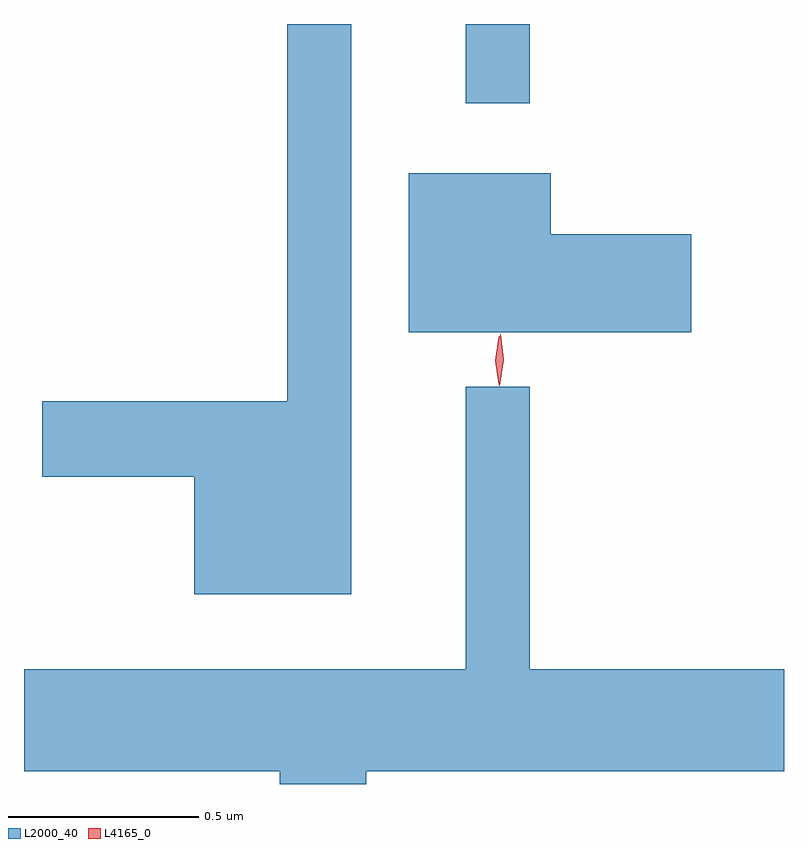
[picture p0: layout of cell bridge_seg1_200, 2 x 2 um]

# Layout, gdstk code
import gdstk
lib = gdstk.Library(unit=1e-6, precision=1e-09)
def R(c, l, rs):  # rectangles x0, y0, x1, y1
    for r in rs: c.add(gdstk.rectangle(r[:2], r[2:], *l))
def P(c, l, *ps):  # polygons
    for p in ps: c.add(gdstk.Polygon(p, *l))
L2000_40 = (2000, 40)
L4165_0 = (4165, 0)

bridge_seg1_200 = lib.new_cell('bridge_seg1_200')
R(bridge_seg1_200, L2000_40, [(647.431,956.833,647.599,957.042)])
P(bridge_seg1_200, L2000_40, [(647.129,957.042),(646.961,957.042),(646.961,956.049),(646.316,956.049),(646.316,955.851),(646.716,955.851),(646.716,955.541),(647.129,955.541)],
  [(648.024,956.489),(647.654,956.489),(647.654,956.649),(647.281,956.649),(647.281,956.231),(648.024,956.231)],
  [(647.169,955.076),(648.268,955.076),(648.268,955.344),(647.599,955.344),(647.599,956.088),(647.431,956.088),(647.431,955.344),(646.268,955.344),(646.268,955.076),(646.941,955.076),(646.941,955.042),(647.169,955.042)])
P(bridge_seg1_200, L4165_0, [(647.518,956.093),(647.517,956.094),(647.508,956.156),(647.517,956.219),(647.518,956.22),(647.518,956.219),(647.528,956.156),(647.518,956.094)],
  [(647.519,956.09),(647.511,956.158),(647.521,956.225),(647.522,956.226),(647.522,956.225),(647.531,956.158),(647.52,956.09),(647.52,956.09)])

lib.write_gds('bridge_seg1_200.gds')
